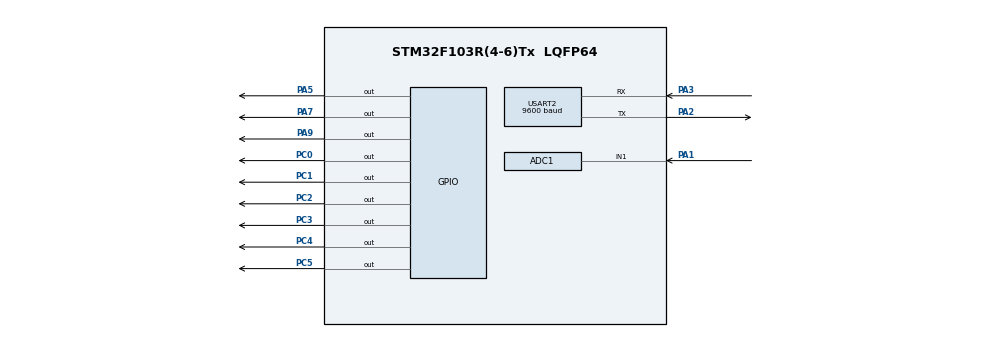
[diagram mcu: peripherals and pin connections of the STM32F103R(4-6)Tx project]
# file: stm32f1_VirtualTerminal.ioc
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ADC1.Channel-0\#ChannelRegularConversion=ADC_CHANNEL_1
ADC1.ContinuousConvMode=ENABLE
ADC1.NbrOfConversionFlag=1
ADC1.Rank-0\#ChannelRegularConversion=1
ADC1.SamplingTime-0\#ChannelRegularConversion=ADC_SAMPLETIME_1CYCLE_5
ADC1.master=1
Mcu.Family=STM32F1
Mcu.Name=STM32F103R(4-6)Tx
Mcu.Package=LQFP64
NVIC.PriorityGroup=NVIC_PRIORITYGROUP_4
PA1.Signal=ADCx_IN1
PA2.Mode=Asynchronous
PA2.Signal=USART2_TX
PA3.Mode=Asynchronous
PA3.Signal=USART2_RX
PA5.Signal=GPIO_Output
PA7.Signal=GPIO_Output
PA9.Signal=GPIO_Output
PC0.Signal=GPIO_Output
PC1.Signal=GPIO_Output
PC14-OSC32_IN.Mode=LSE-External-Oscillator
PC14-OSC32_IN.Signal=RCC_OSC32_IN
PC15-OSC32_OUT.Mode=LSE-External-Oscillator
PC15-OSC32_OUT.Signal=RCC_OSC32_OUT
PC2.Signal=GPIO_Output
PC3.Signal=GPIO_Output
PC4.Signal=GPIO_Output
PC5.Signal=GPIO_Output
PD0-OSC_IN.Mode=HSE-External-Clock-Source
PD0-OSC_IN.Signal=RCC_OSC_IN
PD1-OSC_OUT.Mode=HSE-External-Clock-Source
PD1-OSC_OUT.Signal=RCC_OSC_OUT
ProjectManager.HeapSize=0x200
ProjectManager.StackSize=0x400
ProjectManager.TargetToolchain=STM32CubeIDE
RCC.APB1Freq_Value=8000000
RCC.APB2Freq_Value=8000000
SH.ADCx_IN1.0=ADC1_IN1,IN1
USART2.BaudRate=9600
USART2.VirtualMode=VM_ASYNC
VP_SYS_VS_ND.Mode=No_Debug
board=custom

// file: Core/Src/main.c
/* USER CODE BEGIN Header */
/**
  ******************************************************************************
  * @file           : main.c
  * @brief          : Smart Temperature Monitoring System with Dual LED Control
  * @description    : This program reads temperature from TMP36 sensor via ADC,
  *                   displays it on LCD, sends data via UART, and controls
  *                   two LEDs based on temperature thresholds (hot/cold)
  ******************************************************************************
  * @attention
  *
  * Copyright (c) 2024 STMicroelectronics.
  * All rights reserved.
  *
  * This software is licensed under terms that can be found in the LICENSE file
  * in the root directory of this software component.
  * If no LICENSE file comes with this software, it is provided AS-IS.
  *
  ******************************************************************************
  */
/* USER CODE END Header */
#include "main.h"

/* USER CODE BEGIN Includes */
#include <stdio.h>      // For sprintf function
#include <string.h>     // For strlen function
#include "lcd.h"        // Custom LCD library
/* USER CODE END Includes */

/* USER CODE BEGIN PTD */
float Read_Temperature(void);   // Function to read temperature from TMP36 sensor
/* USER CODE END PTD */

ADC_HandleTypeDef hadc1;

UART_HandleTypeDef huart2;

void SystemClock_Config(void);
static void MX_GPIO_Init(void);
static void MX_ADC1_Init(void);
static void MX_USART2_UART_Init(void);

/* USER CODE BEGIN 0 */
uint32_t adc_val1 = 0;  // Variable to store raw ADC value from temperature sensor
/* USER CODE END 0 */

int main(void)
{

  /* MCU Configuration--------------------------------------------------------*/

  /* Reset of all peripherals, Initializes the Flash interface and the Systick. */
  HAL_Init();

  /* Configure the system clock */
  SystemClock_Config();

  /* Initialize all configured peripherals */
  MX_GPIO_Init();
  MX_ADC1_Init();
  MX_USART2_UART_Init();
  /* USER CODE BEGIN 2 */
  // LCD Configuration - 4-bit mode with specific GPIO pins
  Lcd_PortType ports[] = { GPIOC, GPIOC, GPIOC, GPIOC };  // Data ports
  Lcd_PinType pins[] = {GPIO_PIN_0, GPIO_PIN_1, GPIO_PIN_2, GPIO_PIN_3};  // Data pins
  Lcd_HandleTypeDef lcd;
  lcd = Lcd_create(ports, pins, GPIOC, GPIO_PIN_4, GPIOC, GPIO_PIN_5, LCD_4_BIT_MODE);

  // Display welcome screen with project information
  Lcd_cursor(&lcd, 0,5);
  Lcd_string(&lcd, "WELCOME");
  Lcd_cursor(&lcd, 1,0);
  Lcd_string(&lcd, "SMART");
  Lcd_cursor(&lcd, 2,8);
  Lcd_string(&lcd, "TEMPERATURE");
  Lcd_cursor(&lcd, 3,0);
  Lcd_string(&lcd, "PROJECT");

  // Display countdown from 1 to 5 seconds
  for ( int x = 1; x <= 5 ; x++ )
  {
    Lcd_cursor(&lcd, 1,6);
    Lcd_int(&lcd, x);
    HAL_Delay (1000);  // 1 second delay
  }

  Lcd_clear(&lcd);  // Clear LCD after welcome screen
  char msg[30];     // Buffer for UART message formatting
  /* USER CODE END 2 */

  /* Infinite loop */
  while (1)
  {

    /* USER CODE BEGIN 3 */
    // Read current temperature from TMP36 sensor
    float temp = Read_Temperature();

    // Display temperature on LCD
    Lcd_cursor(&lcd, 1,0);
    Lcd_string(&lcd, "Temperature:");
    Lcd_cursor(&lcd, 1,13);
    display_int_on_lcd(&lcd, temp);  // Display temperature value

    // Send temperature data via UART for monitoring/logging
    sprintf(msg, "Temperature: %.2f C\r\n", temp);
    HAL_UART_Transmit(&huart2, (uint8_t*)msg, strlen(msg), HAL_MAX_DELAY);

    // LED Control Logic - High Temperature Warning (Red LED)
    if (temp >= 60.0) {
        HAL_GPIO_WritePin(GPIOA, GPIO_PIN_7, GPIO_PIN_SET);    // Red LED ON - Hot
    } else {
        HAL_GPIO_WritePin(GPIOA, GPIO_PIN_7, GPIO_PIN_RESET);  // Red LED OFF
    }

    if (temp >= 60.0) {
        HAL_GPIO_WritePin(GPIOA, GPIO_PIN_9, GPIO_PIN_SET);  // Motor ON
    } else {
        HAL_GPIO_WritePin(GPIOA, GPIO_PIN_9, GPIO_PIN_RESET);  // Motor OFF
    }

    // LED Control Logic - Low Temperature Warning (Green LED)
    if (temp < 20.0) {
        HAL_GPIO_WritePin(GPIOA, GPIO_PIN_5, GPIO_PIN_SET);    // Green LED ON - Cold
    } else {
        HAL_GPIO_WritePin(GPIOA, GPIO_PIN_5, GPIO_PIN_RESET);  // Green LED OFF
    }

    HAL_Delay(500);  // 500ms delay between readings

  }
  /* USER CODE END 3 */
}

void SystemClock_Config(void)
{
  RCC_OscInitTypeDef RCC_OscInitStruct = {0};
  RCC_ClkInitTypeDef RCC_ClkInitStruct = {0};
  RCC_PeriphCLKInitTypeDef PeriphClkInit = {0};

  /** Initializes the RCC Oscillators according to the specified parameters
  * in the RCC_OscInitTypeDef structure.
  */
  RCC_OscInitStruct.OscillatorType = RCC_OSCILLATORTYPE_HSI;
  RCC_OscInitStruct.HSIState = RCC_HSI_ON;
  RCC_OscInitStruct.HSICalibrationValue = RCC_HSICALIBRATION_DEFAULT;
  RCC_OscInitStruct.PLL.PLLState = RCC_PLL_NONE;
  if (HAL_RCC_OscConfig(&RCC_OscInitStruct) != HAL_OK)
  {
    Error_Handler();
  }

  /** Initializes the CPU, AHB and APB buses clocks
  */
  RCC_ClkInitStruct.ClockType = RCC_CLOCKTYPE_HCLK|RCC_CLOCKTYPE_SYSCLK
                              |RCC_CLOCKTYPE_PCLK1|RCC_CLOCKTYPE_PCLK2;
  RCC_ClkInitStruct.SYSCLKSource = RCC_SYSCLKSOURCE_HSI;
  RCC_ClkInitStruct.AHBCLKDivider = RCC_SYSCLK_DIV1;
  RCC_ClkInitStruct.APB1CLKDivider = RCC_HCLK_DIV1;
  RCC_ClkInitStruct.APB2CLKDivider = RCC_HCLK_DIV1;

  if (HAL_RCC_ClockConfig(&RCC_ClkInitStruct, FLASH_LATENCY_0) != HAL_OK)
  {
    Error_Handler();
  }
  PeriphClkInit.PeriphClockSelection = RCC_PERIPHCLK_ADC;
  PeriphClkInit.AdcClockSelection = RCC_ADCPCLK2_DIV2;
  if (HAL_RCCEx_PeriphCLKConfig(&PeriphClkInit) != HAL_OK)
  {
    Error_Handler();
  }
}

static void MX_ADC1_Init(void)
{

  ADC_ChannelConfTypeDef sConfig = {0};

  /** Common config
  */
  hadc1.Instance = ADC1;
  hadc1.Init.ScanConvMode = ADC_SCAN_DISABLE;
  hadc1.Init.ContinuousConvMode = ENABLE;
  hadc1.Init.DiscontinuousConvMode = DISABLE;
  hadc1.Init.ExternalTrigConv = ADC_SOFTWARE_START;
  hadc1.Init.DataAlign = ADC_DATAALIGN_RIGHT;
  hadc1.Init.NbrOfConversion = 1;
  if (HAL_ADC_Init(&hadc1) != HAL_OK)
  {
    Error_Handler();
  }

  /** Configure Regular Channel
  */
  sConfig.Channel = ADC_CHANNEL_1;
  sConfig.Rank = ADC_REGULAR_RANK_1;
  sConfig.SamplingTime = ADC_SAMPLETIME_1CYCLE_5;
  if (HAL_ADC_ConfigChannel(&hadc1, &sConfig) != HAL_OK)
  {
    Error_Handler();
  }

}

static void MX_USART2_UART_Init(void)
{

  huart2.Instance = USART2;
  huart2.Init.BaudRate = 9600;
  huart2.Init.WordLength = UART_WORDLENGTH_8B;
  huart2.Init.StopBits = UART_STOPBITS_1;
  huart2.Init.Parity = UART_PARITY_NONE;
  huart2.Init.Mode = UART_MODE_TX_RX;
  huart2.Init.HwFlowCtl = UART_HWCONTROL_NONE;
  huart2.Init.OverSampling = UART_OVERSAMPLING_16;
  if (HAL_UART_Init(&huart2) != HAL_OK)
  {
    Error_Handler();
  }

}

static void MX_GPIO_Init(void)
{
  GPIO_InitTypeDef GPIO_InitStruct = {0};

  /* GPIO Ports Clock Enable */
  __HAL_RCC_GPIOC_CLK_ENABLE();
  __HAL_RCC_GPIOD_CLK_ENABLE();
  __HAL_RCC_GPIOA_CLK_ENABLE();

  /*Configure GPIO pin Output Level */
  HAL_GPIO_WritePin(GPIOC, GPIO_PIN_0|GPIO_PIN_1|GPIO_PIN_2|GPIO_PIN_3
                          |GPIO_PIN_4|GPIO_PIN_5, GPIO_PIN_RESET);

  /*Configure GPIO pin Output Level */
  HAL_GPIO_WritePin(GPIOA, GPIO_PIN_5|GPIO_PIN_7|GPIO_PIN_9, GPIO_PIN_RESET);

  /*Configure GPIO pins : PC0 PC1 PC2 PC3
                           PC4 PC5 */
  GPIO_InitStruct.Pin = GPIO_PIN_0|GPIO_PIN_1|GPIO_PIN_2|GPIO_PIN_3
                          |GPIO_PIN_4|GPIO_PIN_5;
  GPIO_InitStruct.Mode = GPIO_MODE_OUTPUT_PP;
  GPIO_InitStruct.Pull = GPIO_NOPULL;
  GPIO_InitStruct.Speed = GPIO_SPEED_FREQ_LOW;
  HAL_GPIO_Init(GPIOC, &GPIO_InitStruct);

  /*Configure GPIO pins : PA5 PA7 PA9 */
  GPIO_InitStruct.Pin = GPIO_PIN_5|GPIO_PIN_7|GPIO_PIN_9;
  GPIO_InitStruct.Mode = GPIO_MODE_OUTPUT_PP;
  GPIO_InitStruct.Pull = GPIO_NOPULL;
  GPIO_InitStruct.Speed = GPIO_SPEED_FREQ_LOW;
  HAL_GPIO_Init(GPIOA, &GPIO_InitStruct);

}

/* USER CODE BEGIN 4 */
/**
  * @brief  Reads temperature from TMP36 sensor via ADC
  * @note   TMP36 outputs 10mV per degree Celsius with 500mV offset
  *         Formula: Temperature(°C) = (ADC_Voltage - 0.5V) × 100
  * @retval Temperature in degrees Celsius
  */
float Read_Temperature(void)
{
    // Start ADC conversion
    HAL_ADC_Start(&hadc1);

    // Wait for conversion to complete
    HAL_ADC_PollForConversion(&hadc1, HAL_MAX_DELAY);

    // Get the raw ADC value (0-4095 for 12-bit ADC)
    adc_val1 = HAL_ADC_GetValue(&hadc1);

    // Convert ADC value to voltage (assuming 5V reference)
    float voltage = (adc_val1 * 5.0) / 4096.0;

    // Convert voltage to temperature using TMP36 formula
    // TMP36: 10mV/°C with 500mV offset at 0°C
    float temperature = (voltage - 0.5) * 100.0;

    return temperature;
}
/* USER CODE END 4 */

void Error_Handler(void)
{
  /* USER CODE BEGIN Error_Handler_Debug */
  /* User can add his own implementation to report the HAL error return state */
  __disable_irq();  // Disable all interrupts
  while (1)         // Stay in infinite loop for debugging
  {
  }
  /* USER CODE END Error_Handler_Debug */
}
